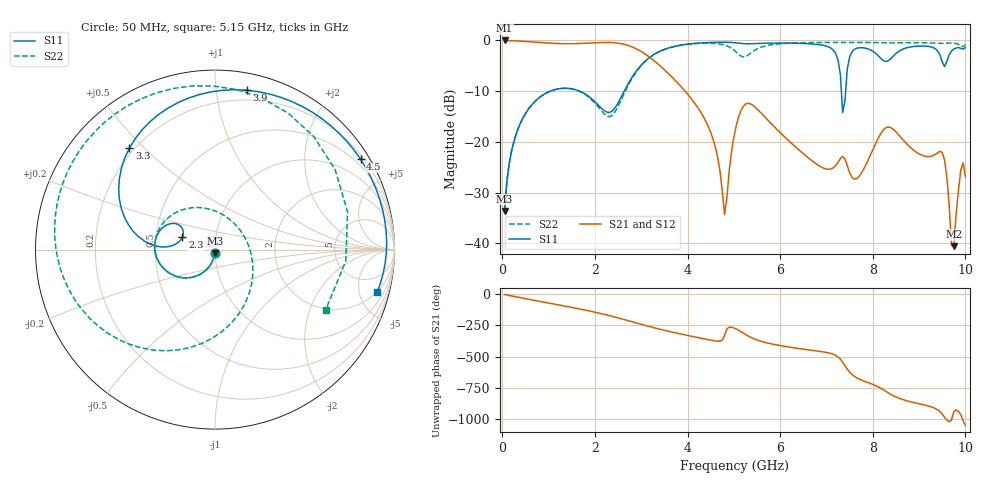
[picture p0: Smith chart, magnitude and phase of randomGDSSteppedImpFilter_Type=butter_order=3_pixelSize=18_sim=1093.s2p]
! freq	dB(S11)	phase(S11)	dB(S12)	phase(S12)
!  dB(S21)	phase(S21)	dB(S22)	phase(S22)
!S-par simulation data
#  GHz  S  DB  R 50
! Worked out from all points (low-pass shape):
!   200 points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, 50 MHz to 10 GHz, reference 50 ohm
!   highest |S21| = -0.01 dB at 50 MHz (marker M1); lowest = -40.6 dB at 9.75 GHz (marker M2)
!   |S21| within 3 dB of the highest: start of sweep to 3.135 GHz
!   lowest |S11| = -33.7 dB at 50 MHz (marker M3), VSWR 1.04, Z = 49.8 - j2.06 ohm
!   |S11| at or under -10 dB: start of sweep to 1.041 GHz; 1.667 GHz to 2.633 GHz (966.6 MHz wide, 45 % of centre); 7.322 GHz to 7.415 GHz (92.76 MHz wide, 1.26 % of centre)
!   |S22| runs from -33.7 to -0.4 dB; largest |S21 - S12| = 0
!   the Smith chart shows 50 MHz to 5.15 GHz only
!   S11 on the Smith chart (normalised r, x): 50 MHz: 1.00, -0.04; 2.3 GHz: 0.69, +0.10; 3.3 GHz: 0.18, +0.45; 3.9 GHz: 0.12, +1.21; 4.5 GHz: 0.31, +3.48; 5.15 GHz: 1.92, -7.21
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0.05  -33.66 -93.3  -0.01 -3.8  -0.01 -3.8  -33.66 -93.3
0.55  -13.73 -131.1  -0.24 -40.3  -0.24 -40.3  -13.73 -130.5
1.75  -10.36 153.3  -0.58 -125.2  -0.58 -125.2  -10.46 136.3
2.3  -14.22 158.6  -0.40 -171.2  -0.40 -171.2  -15.04 38.5
3.3  -2.62 130.2  -4.17 88.2  -4.17 88.2  -2.68 -137.1
3.4  -2.14 121.3  -4.95 78.9  -4.95 78.9  -2.19 -146.6
3.9  -0.86 78.7  -9.52 36.7  -9.52 36.7  -0.89 171.6
4.5  -0.40 31.8  -18.13 -8.7  -18.13 -8.7  -0.56 121.5
4.8  -0.36 9.6  -34.33 28.8  -34.33 28.8  -0.92 82.2
5.05  -0.48 -8.3  -16.89 80.7  -16.89 80.7  -2.29 15.9
5.15  -0.59 -14.8  -13.90 60.1  -13.90 60.1  -3.07 -28.5
5.6  -0.57 -41.7  -14.44 -19.4  -14.44 -19.4  -1.30 178.4
6.7  -0.71 -110.6  -23.82 -90.7  -23.82 -90.7  -0.42 92.6
7.2  -2.60 -168.2  -24.68 -130.8  -24.68 -130.8  -0.39 68.9
7.4  -11.82 -32.3  -23.39 145.6  -23.39 145.6  -0.42 60.2
7.55  -2.27 -111.8  -27.01 77.0  -27.01 77.0  -0.40 53.9
7.95  -1.88 171.8  -22.60 4.2  -22.60 4.2  -0.41 37.0
8.35  -3.91 14.2  -17.08 -74.1  -17.08 -74.1  -0.49 21.3
8.7  -1.55 -89.3  -20.08 -130.4  -20.08 -130.4  -0.45 7.9
9.5  -4.24 -165.0  -22.07 119.1  -22.07 119.1  -0.60 -22.1
9.75  -1.70 -155.7  -40.58 140.3  -40.58 140.3  -0.55 -32.1
10  -1.44 -169.2  -26.90 28.2  -26.90 28.2  -0.85 -37.0
